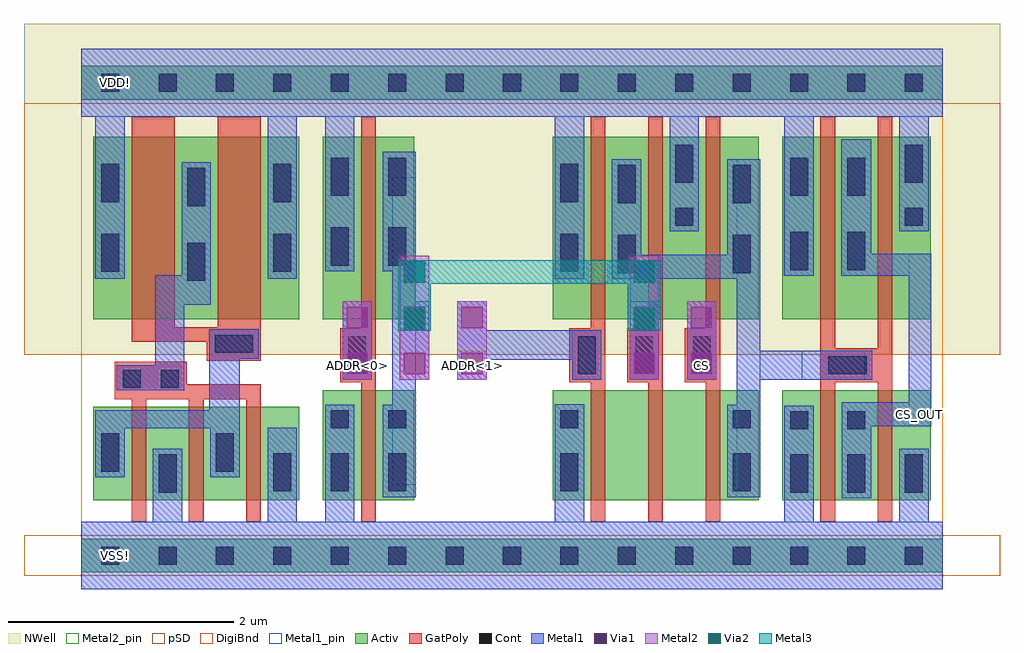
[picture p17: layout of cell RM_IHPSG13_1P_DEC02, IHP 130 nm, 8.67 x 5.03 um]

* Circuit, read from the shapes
.subckt RM_IHPSG13_1P_DEC02 ADDR<0> ADDR<1> CS CS_OUT VDD! VSS!
XM1 VSS! n1 n2 VSS! sg13_lv_nmos w=0.83u l=0.13u m=3
XM2 RSC_IHPSG13_NAND3X2_4_0/B ADDR<0> VSS! VSS! sg13_lv_nmos w=0.98u l=0.13u
XM3 n3 ADDR<1> VSS! VSS! sg13_lv_nmos w=0.98u l=0.13u
XM4 n4 RSC_IHPSG13_NAND3X2_4_0/B n3 VSS! sg13_lv_nmos w=0.98u l=0.13u
XM5 RSC_IHPSG13_INVX4_0_0/A CS n4 VSS! sg13_lv_nmos w=0.98u l=0.13u
XM6 CS_OUT RSC_IHPSG13_INVX4_0_0/A VSS! VSS! sg13_lv_nmos w=0.98u l=0.13u m=2
XM7 n1 n2 VDD! VDD! sg13_lv_pmos w=1.62u l=0.385u m=2
XM8 RSC_IHPSG13_NAND3X2_4_0/B ADDR<0> VDD! VDD! sg13_lv_pmos w=1.62u l=0.13u
XM9 RSC_IHPSG13_INVX4_0_0/A ADDR<1> VDD! VDD! sg13_lv_pmos w=1.62u l=0.13u
XM10 VDD! RSC_IHPSG13_NAND3X2_4_0/B RSC_IHPSG13_INVX4_0_0/A VDD! sg13_lv_pmos w=1.62u l=0.13u
XM11 RSC_IHPSG13_INVX4_0_0/A CS VDD! VDD! sg13_lv_pmos w=1.62u l=0.13u
XM12 CS_OUT RSC_IHPSG13_INVX4_0_0/A VDD! VDD! sg13_lv_pmos w=1.62u l=0.13u m=2
.ends

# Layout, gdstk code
from math import pi, radians
import gdstk
lib = gdstk.Library(unit=1e-6, precision=1e-09)
def R(c, l, rs):  # rectangles x0, y0, x1, y1
    for r in rs: c.add(gdstk.rectangle(r[:2], r[2:], *l))
def A(c, l, x, y, w, h, nx, ny, dx, dy):  # array of equal rectangles
    R(c, l, [(x+i*dx, y+j*dy, x+i*dx+w, y+j*dy+h) for i in range(nx) for j in range(ny)])
def P(c, l, *ps):  # polygons
    for p in ps: c.add(gdstk.Polygon(p, *l))
Activ = (1, 0)
GatPoly = (5, 0)
Cont = (6, 0)
Metal1 = (8, 0)
Metal1_pin = (8, 2)
Metal2 = (10, 0)
Metal2_pin = (10, 2)
pSD = (14, 0)
DigiBnd = (16, 0)
Via1 = (19, 0)
Via2 = (29, 0)
Metal3 = (30, 0)
NWell = (31, 0)

rsc_ihpsg13_invx4 = lib.new_cell('RSC_IHPSG13_INVX4')
R(rsc_ihpsg13_invx4, Activ, [(0,-0.15,1.53,0.15), (0.105,0.49,1.425,1.47), (0.105,2.1,1.425,3.72), (0,4.05,1.53,4.35)])
P(rsc_ihpsg13_invx4, GatPoly, [(0.445,0.3),(0.445,3.9),(0.575,3.9),(0.575,1.84),(0.955,1.84),(0.955,3.9),(1.085,3.9),(1.085,0.3),(0.955,0.3),(0.955,1.54),(0.575,1.54),(0.575,0.3)])
A(rsc_ihpsg13_invx4, Cont, 0.175, -0.08, 0.16, 0.16, 3, 2, 0.51, 4.2)
A(rsc_ihpsg13_invx4, Cont, 0.175, 0.56, 0.16, 0.34, 3, 1, 0.51, 0)
R(rsc_ihpsg13_invx4, Cont, [(0.175,1.12,0.335,1.28), (0.685,1.12,0.845,1.28), (0.515,1.61,0.855,1.77), (0.175,2.535,0.335,2.875), (0.685,2.535,0.845,2.875), (1.195,2.93,1.355,3.09), (0.175,3.195,0.335,3.535), (0.685,3.195,0.845,3.535), (1.195,3.31,1.355,3.65)])
R(rsc_ihpsg13_invx4, Metal1, [(0.28,1.56,0.905,1.82)])
P(rsc_ihpsg13_invx4, Metal1, [(0.635,0.51),(0.635,1.36),(1.23,1.36),(1.23,2.485),(0.63,2.485),(0.63,3.7),(0.895,3.7),(0.895,2.68),(1.43,2.68),(1.43,1.15),(0.895,1.15),(0.895,0.51)],
  [(0,-0.3),(0,0.3),(0.125,0.3),(0.125,1.33),(0.385,1.33),(0.385,0.3),(1.145,0.3),(1.145,0.95),(1.405,0.95),(1.405,0.3),(1.53,0.3),(1.53,-0.3)],
  [(0.125,2.485),(0.125,3.9),(0,3.9),(0,4.5),(1.53,4.5),(1.53,3.9),(1.405,3.9),(1.405,2.88),(1.145,2.88),(1.145,3.9),(0.385,3.9),(0.385,2.485)])
R(rsc_ihpsg13_invx4, Metal1_pin, [(0,-0.3,1.53,0.3), (1.23,1.15,1.43,2.68), (0.28,1.56,0.84,1.82), (0,3.9,1.53,4.5)])
R(rsc_ihpsg13_invx4, pSD, [(-0.51,-0.18,2.04,0.18), (-0.51,1.785,2.04,4.02)])
R(rsc_ihpsg13_invx4, DigiBnd, [(0,-0.3,1.53,4.5)])
R(rsc_ihpsg13_invx4, NWell, [(-0.51,1.785,2.04,4.725)])
rsc_ihpsg13_invx4.add(gdstk.Label('Z', (1.305,1.91), layer=8, texttype=2))
rsc_ihpsg13_invx4.add(gdstk.Label('A', (0.56,1.69), layer=8, texttype=2))
rsc_ihpsg13_invx4.add(gdstk.Label('VSS!', (1.155,0.005), layer=8, texttype=2))
rsc_ihpsg13_invx4.add(gdstk.Label('VDD!', (0.84,4.2), layer=8, texttype=2))

rsc_ihpsg13_fillcap4 = lib.new_cell('RSC_IHPSG13_FILLCAP4')
R(rsc_ihpsg13_fillcap4, Activ, [(0,-0.15,2.04,0.15), (0.105,0.49,1.935,1.32), (0.105,2.1,1.935,3.72), (0,4.05,2.04,4.35)])
P(rsc_ihpsg13_fillcap4, GatPoly, [(0.445,0.3),(0.445,1.39),(0.295,1.39),(0.295,1.72),(0.935,1.72),(0.935,1.52),(1.595,1.52),(1.595,0.3),(1.465,0.3),(1.465,1.39),(1.085,1.39),(1.085,0.3),(0.955,0.3),(0.955,1.39),(0.575,1.39),(0.575,0.3)],
  [(1.115,1.73),(1.115,1.9),(0.445,1.9),(0.445,3.9),(0.83,3.9),(0.83,2.03),(1.21,2.03),(1.21,3.9),(1.595,3.9),(1.595,1.73)])
A(rsc_ihpsg13_fillcap4, Cont, 0.175, -0.08, 0.16, 0.16, 4, 2, 0.51, 4.2)
R(rsc_ihpsg13_fillcap4, Cont, [(0.685,0.56,0.845,0.9), (1.705,0.57,1.865,0.91), (0.175,0.745,0.335,1.085), (1.195,0.745,1.355,1.085), (0.365,1.49,0.525,1.65), (0.705,1.49,0.865,1.65), (1.185,1.8,1.525,1.96), (0.94,2.44,1.1,2.78), (0.175,2.52,0.335,2.86), (1.705,2.52,1.865,2.86), (0.94,3.105,1.1,3.445), (0.175,3.14,0.335,3.48), (1.705,3.14,1.865,3.48)])
P(rsc_ihpsg13_fillcap4, Metal1, [(0.315,1.47),(0.315,1.69),(0.655,1.69),(0.655,2.49),(0.89,2.49),(0.89,3.495),(1.15,3.495),(1.15,2.23),(0.915,2.23),(0.915,1.47)],
  [(0.125,0.695),(0.125,1.29),(1.135,1.29),(1.135,2.01),(1.575,2.01),(1.575,1.75),(1.405,1.75),(1.405,0.695),(1.145,0.695),(1.145,1.13),(0.385,1.13),(0.385,0.695)],
  [(0.125,2.46),(0.125,3.9),(0,3.9),(0,4.5),(2.04,4.5),(2.04,3.9),(1.915,3.9),(1.915,2.46),(1.655,2.46),(1.655,3.9),(0.385,3.9),(0.385,2.46)],
  [(0,-0.3),(0,0.3),(0.635,0.3),(0.635,0.95),(0.895,0.95),(0.895,0.3),(1.655,0.3),(1.655,1.135),(1.915,1.135),(1.915,0.3),(2.04,0.3),(2.04,-0.3)])
R(rsc_ihpsg13_fillcap4, Metal1_pin, [(0,-0.3,2.04,0.3), (0,3.9,2.04,4.5)])
R(rsc_ihpsg13_fillcap4, pSD, [(-0.51,-0.18,2.55,0.18), (-0.51,1.785,2.55,4.02)])
R(rsc_ihpsg13_fillcap4, DigiBnd, [(0,-0.3,2.04,4.5)])
R(rsc_ihpsg13_fillcap4, NWell, [(-0.51,1.785,2.55,4.725)])
rsc_ihpsg13_fillcap4.add(gdstk.Label('VDD!', (0.84,4.2), layer=8, texttype=2))
rsc_ihpsg13_fillcap4.add(gdstk.Label('VSS!', (1.155,0.005), layer=8, texttype=2))

rsc_ihpsg13_invx2 = lib.new_cell('RSC_IHPSG13_INVX2')
R(rsc_ihpsg13_invx2, Activ, [(0,-0.15,1.02,0.15), (0.105,0.49,0.915,1.47), (0.105,2.1,0.915,3.72), (0,4.05,1.02,4.35)])
P(rsc_ihpsg13_invx2, GatPoly, [(0.445,0.3),(0.445,1.54),(0.26,1.54),(0.26,2.02),(0.445,2.02),(0.445,3.9),(0.575,3.9),(0.575,0.3)])
R(rsc_ihpsg13_invx2, Cont, [(0.175,-0.08,0.335,0.08), (0.685,-0.08,0.845,0.08), (0.175,0.57,0.335,0.91), (0.685,0.57,0.845,0.91), (0.175,1.13,0.335,1.29), (0.685,1.13,0.845,1.29), (0.33,1.61,0.49,1.95), (0.175,2.575,0.335,2.915), (0.685,2.575,0.845,2.915), (0.175,3.195,0.335,3.535), (0.685,3.195,0.845,3.535), (0.175,4.12,0.335,4.28), (0.685,4.12,0.845,4.28)])
R(rsc_ihpsg13_invx2, Metal1, [(0.28,1.56,0.54,2)])
P(rsc_ihpsg13_invx2, Metal1, [(0.635,0.52),(0.635,1.34),(0.72,1.34),(0.72,2.525),(0.635,2.525),(0.635,3.585),(0.93,3.585),(0.93,0.52)],
  [(0.125,2.525),(0.125,3.9),(0,3.9),(0,4.5),(1.02,4.5),(1.02,3.9),(0.385,3.9),(0.385,2.525)],
  [(0,-0.3),(0,0.3),(0.125,0.3),(0.125,1.34),(0.385,1.34),(0.385,0.3),(1.02,0.3),(1.02,-0.3)])
R(rsc_ihpsg13_invx2, Metal1_pin, [(0,-0.3,1.02,0.3), (0.72,0.63,0.93,3.36), (0.28,1.56,0.54,2), (0,3.9,1.02,4.5)])
R(rsc_ihpsg13_invx2, pSD, [(-0.51,-0.18,1.53,0.18), (-0.51,1.785,1.53,4.02)])
R(rsc_ihpsg13_invx2, DigiBnd, [(0,-0.3,1.02,4.5)])
R(rsc_ihpsg13_invx2, NWell, [(-0.51,1.785,1.53,4.725)])
rsc_ihpsg13_invx2.add(gdstk.Label('VSS!', (0.51,0), layer=8, texttype=2))
rsc_ihpsg13_invx2.add(gdstk.Label('VDD!', (0.33,4.2), layer=8, texttype=2))
rsc_ihpsg13_invx2.add(gdstk.Label('A', (0.41,1.78), layer=8, texttype=2))
rsc_ihpsg13_invx2.add(gdstk.Label('Z', (0.825,1.995), layer=8, texttype=2))

rsc_ihpsg13_fill2 = lib.new_cell('RSC_IHPSG13_FILL2')
R(rsc_ihpsg13_fill2, Activ, [(0,-0.15,1.02,0.15), (0,4.05,1.02,4.35)])
R(rsc_ihpsg13_fill2, Cont, [(0.175,-0.08,0.335,0.08), (0.685,-0.08,0.845,0.08), (0.175,4.12,0.335,4.28), (0.685,4.12,0.845,4.28)])
R(rsc_ihpsg13_fill2, Metal1, [(0,-0.3,1.02,0.3), (0,3.9,1.02,4.5)])
R(rsc_ihpsg13_fill2, Metal1_pin, [(0,-0.3,1.02,0.3), (0,3.9,1.02,4.5)])
R(rsc_ihpsg13_fill2, pSD, [(-0.51,-0.18,1.53,0.18), (-0.51,1.785,1.53,4.02)])
R(rsc_ihpsg13_fill2, DigiBnd, [(0,-0.3,1.02,4.5)])
R(rsc_ihpsg13_fill2, NWell, [(-0.51,1.785,1.53,4.725)])
rsc_ihpsg13_fill2.add(gdstk.Label('VSS!', (0.635,-0.005), layer=8, texttype=2))
rsc_ihpsg13_fill2.add(gdstk.Label('VDD!', (0.515,4.215), layer=8, texttype=2))

rsc_ihpsg13_nand3x2 = lib.new_cell('RSC_IHPSG13_NAND3X2')
R(rsc_ihpsg13_nand3x2, Activ, [(0,-0.15,2.04,0.15), (0.105,0.49,1.935,1.47), (0.105,2.1,1.935,3.72), (0,4.05,2.04,4.35)])
P(rsc_ihpsg13_nand3x2, GatPoly, [(0.445,0.3),(0.445,1.54),(0.255,1.54),(0.255,2.02),(0.445,2.02),(0.445,3.9),(0.575,3.9),(0.575,0.3)],
  [(0.955,0.3),(0.955,1.54),(0.77,1.54),(0.77,2.02),(0.955,2.02),(0.955,3.9),(1.085,3.9),(1.085,0.3)],
  [(1.465,0.3),(1.465,1.54),(1.28,1.54),(1.28,2.02),(1.465,2.02),(1.465,3.9),(1.595,3.9),(1.595,0.3)])
A(rsc_ihpsg13_nand3x2, Cont, 0.175, -0.08, 0.16, 0.16, 4, 2, 0.51, 4.2)
A(rsc_ihpsg13_nand3x2, Cont, 0.33, 1.61, 0.16, 0.34, 3, 1, 0.51, 0)
R(rsc_ihpsg13_nand3x2, Cont, [(0.175,0.57,0.335,0.91), (1.705,0.57,1.865,0.91), (0.175,1.13,0.335,1.29), (1.705,1.13,1.865,1.29), (0.685,2.51,0.845,2.85), (1.705,2.51,1.865,2.85), (0.175,2.52,0.335,2.86), (1.195,2.93,1.355,3.09), (0.685,3.13,0.845,3.47), (1.705,3.13,1.865,3.47), (0.175,3.14,0.335,3.48), (1.195,3.31,1.355,3.65)])
A(rsc_ihpsg13_nand3x2, Metal1, 0.28, 1.56, 0.26, 0.44, 3, 1, 0.51, 0)
P(rsc_ihpsg13_nand3x2, Metal1, [(0.125,2.46),(0.125,3.9),(0,3.9),(0,4.5),(2.04,4.5),(2.04,3.9),(1.405,3.9),(1.405,2.88),(1.145,2.88),(1.145,3.9),(0.385,3.9),(0.385,2.46)],
  [(0,-0.3),(0,0.3),(0.125,0.3),(0.125,1.345),(0.385,1.345),(0.385,0.3),(2.04,0.3),(2.04,-0.3)],
  [(1.655,0.52),(1.655,1.34),(1.74,1.34),(1.74,2.46),(0.63,2.46),(0.63,3.52),(0.895,3.52),(0.895,2.67),(1.655,2.67),(1.655,3.52),(1.95,3.52),(1.95,0.52)])
A(rsc_ihpsg13_nand3x2, Metal1_pin, 0.28, 1.56, 0.26, 0.44, 3, 1, 0.51, 0)
R(rsc_ihpsg13_nand3x2, Metal1_pin, [(0,-0.3,2.04,0.3), (1.74,0.52,1.95,3.52), (0,3.9,2.04,4.5)])
R(rsc_ihpsg13_nand3x2, pSD, [(-0.51,-0.18,2.55,0.18), (-0.51,1.785,2.55,4.02)])
R(rsc_ihpsg13_nand3x2, DigiBnd, [(0,-0.3,2.04,4.5)])
R(rsc_ihpsg13_nand3x2, NWell, [(-0.51,1.785,2.55,4.725)])
rsc_ihpsg13_nand3x2.add(gdstk.Label('A', (0.425,1.885), layer=8, texttype=2))
rsc_ihpsg13_nand3x2.add(gdstk.Label('B', (0.895,1.77), layer=8, texttype=2))
rsc_ihpsg13_nand3x2.add(gdstk.Label('Z', (1.845,1.995), layer=8, texttype=2))
rsc_ihpsg13_nand3x2.add(gdstk.Label('VDD!', (0.84,4.2), layer=8, texttype=2))
rsc_ihpsg13_nand3x2.add(gdstk.Label('VSS!', (1.155,0.005), layer=8, texttype=2))
rsc_ihpsg13_nand3x2.add(gdstk.Label('C', (1.41,1.79), layer=8, texttype=2))

m2_m1_cdns_7558030484011 = lib.new_cell('M2_M1_CDNS_7558030484011')
R(m2_m1_cdns_7558030484011, Metal1, [(-0.35,-0.13,0.35,0.13)])
R(m2_m1_cdns_7558030484011, Metal2, [(-0.35,-0.13,0.35,0.13)])
R(m2_m1_cdns_7558030484011, Via1, [(-0.3,-0.095,-0.11,0.095), (0.11,-0.095,0.3,0.095)])

viagen23_cdns_7558030484 = lib.new_cell('viagen23_CDNS_7558030484032')
R(viagen23_cdns_7558030484, Metal2, [(-0.13,-0.355,0.13,0.355)])
R(viagen23_cdns_7558030484, Via2, [(-0.095,-0.305,0.095,-0.115), (-0.095,0.115,0.095,0.305)])
R(viagen23_cdns_7558030484, Metal3, [(-0.145,-0.315,0.145,0.315)])

rm_ihpsg13_1p_dec02 = lib.new_cell('RM_IHPSG13_1P_DEC02')
R(rm_ihpsg13_1p_dec02, Metal1, [(6.03,1.56,6.4,1.82), (3.34,1.74,4.36,2)])
R(rm_ihpsg13_1p_dec02, Metal1_pin, [(0,-0.3,0.6,0.3), (7.35,1.15,7.55,1.36), (0,3.9,0.6,4.5)])
R(rm_ihpsg13_1p_dec02, Metal2_pin, [(2.32,1.56,2.58,1.82), (3.34,1.56,3.6,1.82), (5.38,1.56,5.64,1.82)])
R(rm_ihpsg13_1p_dec02, Metal3, [(2.815,2.415,5.145,2.625)])
r = gdstk.Reference(rsc_ihpsg13_invx4, (6.12,0)); r.repetition = gdstk.Repetition(1, 1, v1=(0,0), v2=(0,0)); rm_ihpsg13_1p_dec02.add(r)
r = gdstk.Reference(rsc_ihpsg13_fillcap4, (0,0)); r.repetition = gdstk.Repetition(1, 1, v1=(0,0), v2=(0,0)); rm_ihpsg13_1p_dec02.add(r)
r = gdstk.Reference(rsc_ihpsg13_invx2, (2.04,0)); r.repetition = gdstk.Repetition(1, 1, v1=(0,0), v2=(0,0)); rm_ihpsg13_1p_dec02.add(r)
r = gdstk.Reference(rsc_ihpsg13_fill2, (3.06,0)); r.repetition = gdstk.Repetition(1, 1, v1=(0,0), v2=(0,0)); rm_ihpsg13_1p_dec02.add(r)
r = gdstk.Reference(rsc_ihpsg13_nand3x2, (4.08,0)); r.repetition = gdstk.Repetition(1, 1, v1=(0,0), v2=(0,0)); rm_ihpsg13_1p_dec02.add(r)
rm_ihpsg13_1p_dec02.add(gdstk.Reference(m2_m1_cdns_7558030484011, (2.45,1.91), rotation=pi/2))
rm_ihpsg13_1p_dec02.add(gdstk.Reference(m2_m1_cdns_7558030484011, (2.96,1.91), rotation=pi/2))
rm_ihpsg13_1p_dec02.add(gdstk.Reference(m2_m1_cdns_7558030484011, (3.47,1.91), rotation=pi/2))
rm_ihpsg13_1p_dec02.add(gdstk.Reference(m2_m1_cdns_7558030484011, (5,1.91), rotation=pi/2))
rm_ihpsg13_1p_dec02.add(gdstk.Reference(m2_m1_cdns_7558030484011, (5.51,1.91), rotation=pi/2))
rm_ihpsg13_1p_dec02.add(gdstk.Reference(viagen23_cdns_7558030484, (2.96,2.31), rotation=pi))
rm_ihpsg13_1p_dec02.add(gdstk.Reference(viagen23_cdns_7558030484, (5,2.31), rotation=pi))
rm_ihpsg13_1p_dec02.add(gdstk.Label('ADDR<0>', (2.45,1.69), layer=10, texttype=25))
rm_ihpsg13_1p_dec02.add(gdstk.Label('ADDR<1>', (3.47,1.69), layer=10, texttype=25))
rm_ihpsg13_1p_dec02.add(gdstk.Label('CS', (5.51,1.69), layer=10, texttype=25))
rm_ihpsg13_1p_dec02.add(gdstk.Label('VSS!', (0.3,0), layer=8, texttype=25))
rm_ihpsg13_1p_dec02.add(gdstk.Label('VDD!', (0.3,4.2), layer=8, texttype=25))
rm_ihpsg13_1p_dec02.add(gdstk.Label('CS_OUT', (7.445,1.25), layer=8, texttype=25))

lib.write_gds('RM_IHPSG13_1P_DEC02.gds')
